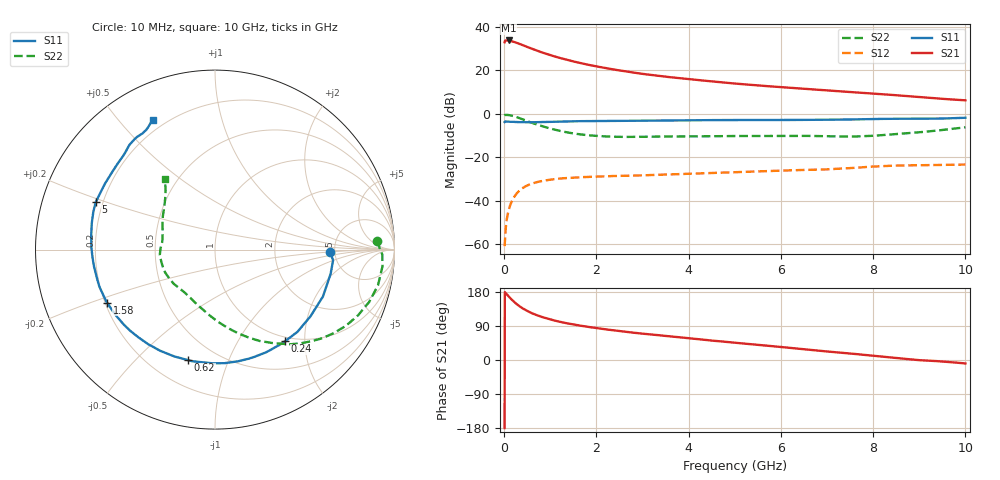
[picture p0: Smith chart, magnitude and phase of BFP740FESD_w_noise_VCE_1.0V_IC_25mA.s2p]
! Infineon Technologies  Discrete & RF Semiconductors
! BFP740FESD
! VCE =  1.0 V,  IC =  25 mA
! Common Emitter S-Parameters:  Jan 2016
# GHz  S  MA  R  50
!  f  S11  S21  S12  S22
! GHz  MAG  ANG  MAG  ANG  MAG  ANG  MAG  ANG
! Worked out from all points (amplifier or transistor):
!   233 points, 10 MHz to 10 GHz, reference 50 ohm
!   highest |S21| = 33.6 dB at 100 MHz (marker M1)
!   |S21| within 3 dB of that: start of sweep to 502.7 MHz
!   unconditionally stable (mu >= 1): start of sweep to 16.59 MHz; 4.719 GHz to end of sweep
!   at 200 MHz: K = 0.15, MSG = 36.0 dB, |S12| = -38.9 dB
!   at 1.74 GHz: K = 0.55, MSG = 26.0 dB, |S12| = -29.2 dB
!   at 10 GHz: K = 1.29, MAG = 11.5 dB, |S12| = -23.4 dB
!   lowest NFmin = 0.89 dB at 450 MHz
!   S11 on the Smith chart (normalised r, x): 10 MHz: 4.58, -0.24; 240 MHz: 0.93, -1.62; 620 MHz: 0.35, -0.72; 1.58 GHz: 0.21, -0.22; 5 GHz: 0.17, +0.19; 10 GHz: 0.15, +0.62
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0.01  0.6423 -1.4  43.7 -179.5  0.0009 58.1  0.9026 3.1
0.02  0.6606 -5.2  47.63 178.1  0.0014 71.4  0.9325 -1.7
0.05  0.6583 -11.8  47.95 174.2  0.0033 82.9  0.9377 -5.8
0.1  0.6558 -23.5  48 167.7  0.0061 77.2  0.9296 -12.4
0.155  0.6481 -36.0  46.25 160.4  0.0091 72.7  0.9037 -19.4
0.24  0.6427 -52.5  43.6 150.8  0.0132 66.2  0.851 -28.9
0.3  0.6391 -63.5  41.28 144.7  0.0158 62.4  0.8101 -35.0
0.4  0.6354 -78.5  37.7 136.4  0.0194 56.3  0.7395 -43.7
0.5  0.6336 -91.4  34.07 129.4  0.0223 51.2  0.675 -51.4
0.62  0.634 -103.6  30.5 122.6  0.025 46.5  0.6064 -58.9
0.8  0.6411 -118.5  25.88 114.2  0.0281 40.9  0.5242 -69.1
1  0.6489 -131.1  22.09 107.0  0.0304 36.4  0.4543 -78.9
1.28  0.6602 -143.8  18.16 98.9  0.0327 32.0  0.3866 -90.6
1.58  0.6701 -153.8  15.12 92.2  0.0341 29.0  0.341 -101.5
1.68  0.6716 -156.6  14.31 90.0  0.0346 28.2  0.3306 -104.7
2.4  0.6803 -171.7  10.22 77.8  0.0369 25.3  0.2939 -123.9
3.4  0.6928 174.5  7.261 64.9  0.0393 25.1  0.2974 -139.2
5  0.715 158.4  4.911 45.5  0.045 26.0  0.3056 -155.6
5.1  0.7143 157.5  4.812 44.5  0.0454 26.0  0.3056 -156.6
6.8  0.7208 140.2  3.538 24.9  0.0518 25.6  0.3053 -178.5
8.4  0.7611 126.1  2.695 6.2  0.0634 23.1  0.3328 151.5
10  0.8036 115.6  2.021 -9.1  0.0674 16.1  0.4846 125.2
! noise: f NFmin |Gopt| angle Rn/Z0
0.45  0.89  0.09  -166  0.08
2.4  0.91  0.13  -166  0.09
5.5  1.07  0.18  -165  0.08
10  1.57  0.39  -118  0.19
